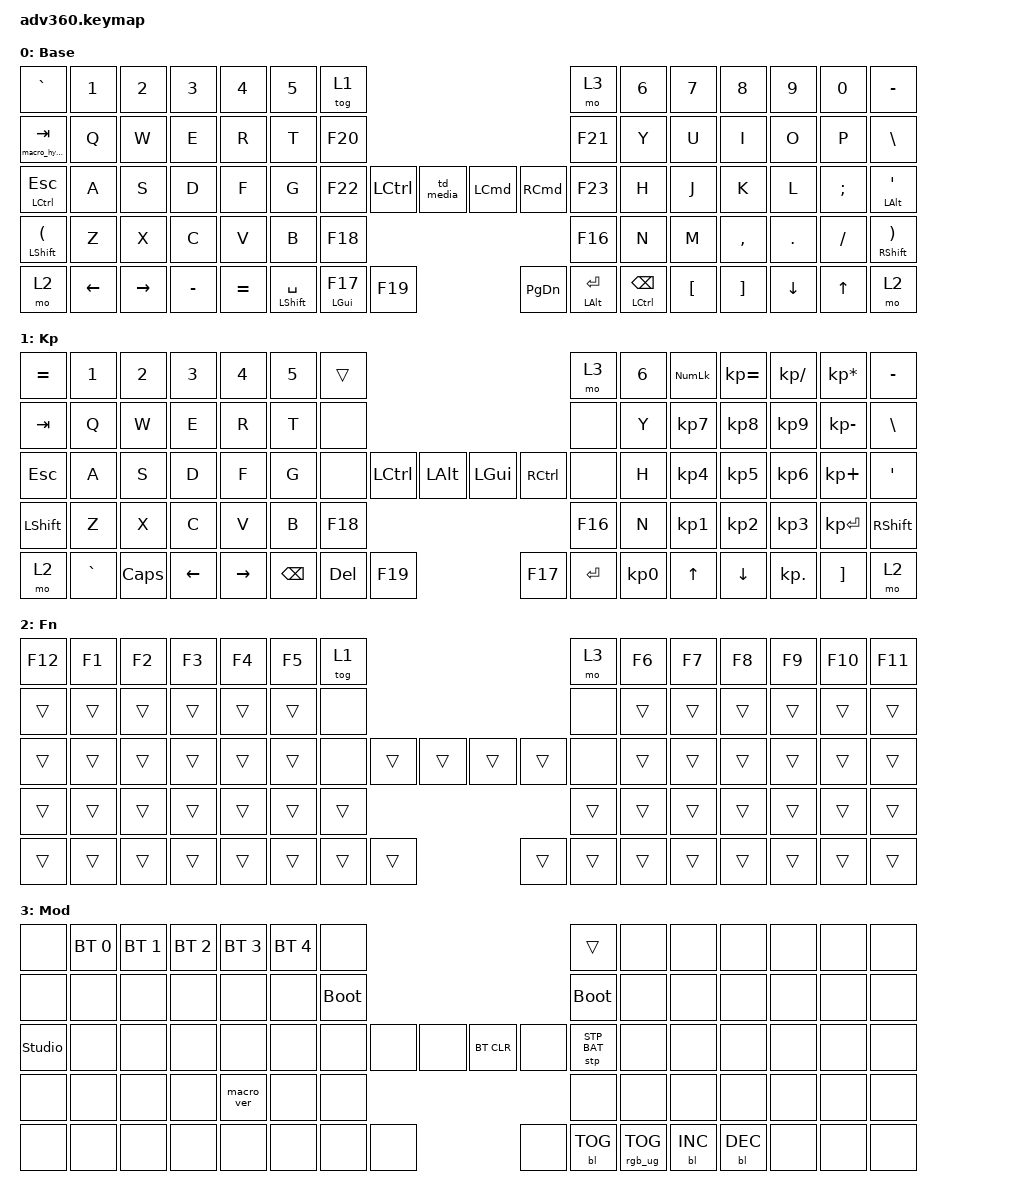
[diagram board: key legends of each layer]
#include <behaviors.dtsi>
#include <dt-bindings/zmk/keys.h>
#include <dt-bindings/zmk/bt.h>
#include <dt-bindings/zmk/rgb.h>
#include <dt-bindings/zmk/stp.h>
#include <dt-bindings/zmk/backlight.h>
#include <dt-bindings/zmk/pointing.h>

#define AS(keycode) &as LS(keycode) keycode     // Autoshift Macro
#define HYP LS(LC(LA(LGUI)))
#define HYPER(key) LS(LC(LA(LG(key))))

// Friendlier volume definitions, tap volume down, hold mute
#define VOLUME_DOWN K_MUTE C_VOLUME_DOWN
#define VOLUME_UP C_VOLUME_UP
// Dual-role helpers to mimic broken Karabiner rules
#define HT_OPT_F16 &hm LALT F16   // hold Option, tap F16 (Page Up)
#define HT_F17_OPT &hm LALT F17   // hold Option, tap F17 (Page Down)
#define HT_OPT_F18 &hm LALT F18   // hold Option, tap F18 (Home)
#define HT_F19_OPT &hm LALT F19   // hold Option, tap F19 (End)
#define HT_OPT_SQT &hm LALT SQT   // hold Option, tap '
#define HT_OPT_ENT &hm LALT ENTER // hold Option, tap Enter
#define HT_CTL_BSPC &hm LCTRL BACKSPACE // hold Control, tap Backspace
#define HT_SFT_SPC &hm LSHFT SPACE      // hold Shift, tap Space
#define HT_CTL_ESC &hm LCTRL ESC        // hold Control, tap Escape

/ {
    behaviors {
      #include "macros.dtsi"
      #include "version.dtsi"

      hm: homerow_mods {
          compatible = "zmk,behavior-hold-tap";
          label = "HOMEROW_MODS";
          #binding-cells = <2>;
          tapping-term-ms = <175>;           // Shorter - favors hold behavior
          quick-tap-ms = <220>;              // Tap then hold = repeat (220ms window)
          require-prior-idle-ms = <100>;     // 10500/100 WPM - prevents accidental holds
          flavor = "hold-preferred";         // Modifier activates immediately on chord
          bindings = <&kp>, <&kp>;
      };
      as: auto_shift {
          compatible = "zmk,behavior-hold-tap";
          label = "AUTO_SHIFT";
          #binding-cells = <2>;
          tapping_term_ms = <130>;
          quick_tap_ms = <0>;
          flavor = "tap-preferred";
          bindings = <&kp>, <&kp>;
        };
      td_media: tap_dance_media {
          compatible = "zmk,behavior-tap-dance";
          label = "TAP_DANCE_MEDIA";
          #binding-cells = <0>;
          tapping-term-ms = <90>;
          bindings = <&kp C_PLAY_PAUSE>, <&kp C_NEXT>, <&kp C_PREVIOUS>;
      };

      // Hyper-Tab: hold = Hyper (all 4 mods), tap = any key
      ht_hyper: ht_hyper {
          compatible = "zmk,behavior-hold-tap";
          label = "HT_HYPER";
          #binding-cells = <2>;
          tapping-term-ms = <175>;
          flavor = "hold-preferred";
          bindings = <&macro_hyper>, <&kp>;
      };
    };
    // TODO: https://github.com/rastasheep/zmk-config/blob/master/config/lily58.keymap td media keys
    // TODO: use &lt and &tog for left index homerow and circled 2 keys
    // TODO: fix AS() bindings to not be so slow
    // TODO: restore shift space in firmware
    //  bindings = <
    //    AS(GRAVE) AS(N1)    AS(N2)   AS(N3)   AS(N4)     AS(N5) &tog 1                                                                       &mo 3 AS(N6) AS(N7) AS(N8)    AS(N9)   AS(N0)   AS(MINUS)
    //    &kp TAB   &kp Q     &kp W    &kp E    &kp R      &kp T  &kp F20                                                                        &kp F21 &kp Y  &kp U  &kp I     &kp O    &kp P    AS(BSLH)
    //    &mt LEFT_CONTROL ESC   &kp A     &kp S    &kp D    &kp F      &kp G  &kp F22           &kp LCTRL &td_media             &kp LEFT_COMMAND  &kp RIGHT_COMMAND           &kp F23 &kp H  &kp J  &kp K     &kp L  &kp SEMI AS(SQT)
    //    &kp LEFT_SHIFT  &kp Z     &kp X    &kp C    &kp V      &kp B         &kp HOME  &kp PG_UP            &kp N  &kp M  &kp COMMA &kp DOT  &kp FSLH &kp RIGHT_SHIFT
    //    &mo 2     &kp LEFT &kp RIGHT AS(MINUS) AS(EQUAL)                &mt LEFT_SHIFT SPACE &kp LEFT_COMMAND   &kp END              &kp PG_DN &mt LEFT_ALT ENTER &mt LEFT_CONTROL BACKSPACE              AS(LEFT_BRACKET) AS(RIGHT_BRACKET)  &kp DOWN &kp UP &mo 2
    //  >;

  keymap {
    compatible = "zmk,keymap";

    default_layer {
      display-name = "Base";
      bindings = <
          &kp GRAVE &kp N1    &kp N2   &kp N3   &kp N4     &kp N5 &tog 1                                                                       &mo 3 &kp N6 &kp N7 &kp N8    &kp N9   &kp N0   &kp MINUS
          &ht_hyper 0 TAB   &kp Q     &kp W    &kp E    &kp R      &kp T  &kp F20                                                                        &kp F21 &kp Y  &kp U  &kp I     &kp O    &kp P    &kp BSLH
          &hm LCTRL ESC   &kp A     &kp S    &kp D    &kp F      &kp G  &kp F22           &kp LCTRL &td_media             &kp LEFT_COMMAND  &kp RIGHT_COMMAND           &kp F23 &kp H  &kp J  &kp K     &kp L  &kp SEMI &hm LALT SQT
          &hm LSHFT LPAR  &kp Z     &kp X    &kp C    &kp V      &kp B              &kp F18  &kp F16            &kp N  &kp M  &kp COMMA &kp DOT  &kp FSLH &hm RSHFT RPAR
          &mo 2     &kp LEFT &kp RIGHT &kp MINUS &kp EQUAL                &hm LSHFT SPACE &hm LGUI F17   &kp F19              &kp PG_DN &hm LALT ENTER &hm LCTRL BACKSPACE              &kp LEFT_BRACKET &kp RIGHT_BRACKET  &kp DOWN &kp UP &mo 2
      >;
    };
    keypad {
      display-name = "Kp";
      bindings = <
        &kp EQUAL &kp N1    &kp N2   &kp N3   &kp N4     &kp N5 &trans                                                           &mo 3 &kp N6 &kp KP_NUM &kp KP_EQUAL &kp KP_DIVIDE &kp KP_MULTIPLY &kp MINUS
        &kp TAB   &kp Q     &kp W    &kp E    &kp R      &kp T  &none                                                            &none &kp Y  &kp KP_N7  &kp KP_N8    &kp KP_N9     &kp KP_MINUS    &kp BSLH
        &kp ESC   &kp A     &kp S    &kp D    &kp F      &kp G  &none           &kp LCTRL &kp LALT &kp LGUI  &kp RCTRL           &none &kp H  &kp KP_N4  &kp KP_N5    &kp KP_N6     &kp KP_PLUS     &kp SQT
        &kp LSHFT &kp Z     &kp X    &kp C    &kp V      &kp B                            &kp F18 &kp F16                           &kp N  &kp KP_N1  &kp KP_N2    &kp KP_N3     &kp KP_ENTER    &kp RSHFT
        &mo 2     &kp GRAVE &kp CAPS &kp LEFT &kp RIGHT                &kp BACKSPACE &kp DEL   &kp F19  &kp F17 &kp ENTER &kp KP_N0              &kp UP     &kp DOWN     &kp KP_DOT    &kp RBKT        &mo 2
      >;
    };
    fn {
      display-name = "Fn";
      bindings = <

          &kp F12 &kp F1 &kp F2 &kp F3 &kp F4 &kp F5 &tog 1                                                       &mo 3 &kp F6 &kp F7 &kp F8 &kp F9 &kp F10 &kp F11
          &trans &trans &trans &trans &trans &trans  &none                                                       &none &trans &trans &trans &trans  &trans  &trans
          &trans &trans &trans &trans &trans &trans  &none        &trans &trans             &trans &trans        &none &trans &trans &trans &trans  &trans  &trans
          &trans &trans &trans &trans &trans &trans          &trans  &trans         &trans &trans &trans &trans  &trans  &trans
          &trans &trans &trans &trans &trans               &trans &trans &trans             &trans &trans &trans              &trans &trans &trans  &trans  &trans
      >;
    };
    mod {
      display-name = "Mod";
      bindings = <
        &none &bt BT_SEL 0 &bt BT_SEL 1 &bt BT_SEL 2 &bt BT_SEL 3 &bt BT_SEL 4 &none                                                                     &trans                 &none        &none        &none        &none &none &none
        &none &none        &none        &none        &none        &none        &bootloader                                                               &bootloader            &none        &none        &none        &none &none &none
        &studio_unlock &none        &none        &none        &none        &none        &none                   &none &none &bt BT_CLR &none                      &stp STP_BAT &none        &none        &none        &none &none &none
        &none &none        &none        &none        &macro_ver   &none                                      &none &none                                                        &none        &none        &none        &none &none &none
        &none &none        &none        &none        &none                                       &none &none &none &none      &bl BL_TOG &rgb_ug RGB_TOG                                     &bl BL_INC   &bl BL_DEC   &none &none &none
      >;
    };
    extra1 { 
      display-name = "Red";    
      status = "reserved";
    };

    extra2 { 
      display-name = "Purple";    
      status = "reserved";
    };

    extra3 { 
      display-name = "Cyan";    
      status = "reserved";
    };

    extra4 { 
      display-name = "Yellow";    
      status = "reserved";
    };
  };
};
